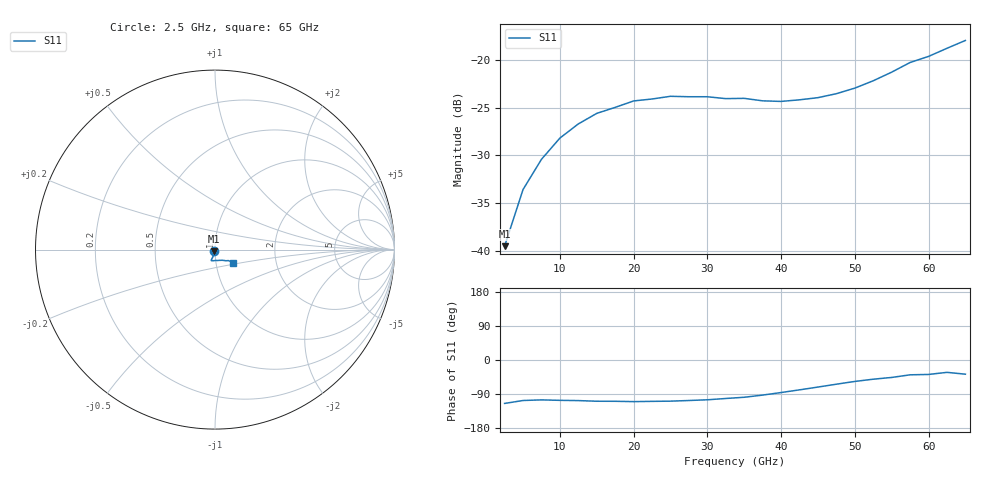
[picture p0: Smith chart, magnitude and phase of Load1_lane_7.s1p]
! File created by SignalIntegrity v1.5.1: Signal and Power Integrity Tools
! https://github.com/Nubis-Communications/SignalIntegrity
# MHz S MA R 50.0
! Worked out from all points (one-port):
!   26 points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, 2.5 GHz to 65 GHz, reference 50 ohm
!   lowest |S11| = -39.5 dB at 2.5 GHz (marker M1), VSWR 1.02, Z = 49.6 - j0.951 ohm
!   |S11| at or under -10 dB: start of sweep to end of sweep
2500  0.01056 -114.6
5000  0.02093 -106.9
7500  0.03015 -105.3
10000  0.03897 -106.5
12500  0.04624 -107.1
15000  0.05253 -108.8
17500  0.05648 -108.9
20000  0.06103 -109.9
22500  0.0625 -109.1
25000  0.06457 -108.6
27500  0.06422 -106.9
30000  0.06421 -105.0
32500  0.06277 -101.6
35000  0.06298 -98.3
37500  0.06112 -92.6
40000  0.06068 -85.9
42500  0.06188 -78.8
45000  0.06351 -71.4
47500  0.06663 -63.8
50000  0.07127 -56.6
52500  0.0779 -50.7
55000  0.08643 -46.1
57500  0.09715 -39.1
60000  0.1045 -38.1
62500  0.1153 -32.6
65000  0.1268 -37.4
